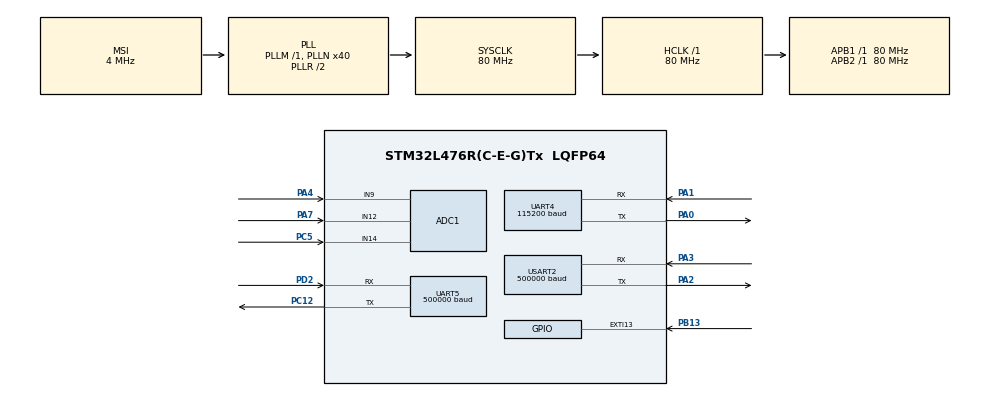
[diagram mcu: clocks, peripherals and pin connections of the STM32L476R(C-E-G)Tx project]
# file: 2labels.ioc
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ADC1.Channel-0\#ChannelRegularConversion=ADC_CHANNEL_9
ADC1.Channel-1\#ChannelRegularConversion=ADC_CHANNEL_12
ADC1.Channel-2\#ChannelRegularConversion=ADC_CHANNEL_14
ADC1.DMAContinuousRequests=ENABLE
ADC1.ExternalTrigConv=ADC_EXTERNALTRIG_T3_TRGO
ADC1.NbrOfConversion=3
ADC1.NbrOfConversionFlag=1
ADC1.OffsetNumber-0\#ChannelRegularConversion=ADC_OFFSET_NONE
ADC1.OffsetNumber-1\#ChannelRegularConversion=ADC_OFFSET_NONE
ADC1.OffsetNumber-2\#ChannelRegularConversion=ADC_OFFSET_NONE
ADC1.Rank-0\#ChannelRegularConversion=1
ADC1.Rank-1\#ChannelRegularConversion=2
ADC1.Rank-2\#ChannelRegularConversion=3
ADC1.SamplingTime-0\#ChannelRegularConversion=ADC_SAMPLETIME_2CYCLES_5
ADC1.SamplingTime-1\#ChannelRegularConversion=ADC_SAMPLETIME_2CYCLES_5
ADC1.SamplingTime-2\#ChannelRegularConversion=ADC_SAMPLETIME_2CYCLES_5
ADC1.master=1
Dma.ADC1.0.Direction=DMA_PERIPH_TO_MEMORY
Dma.ADC1.0.Instance=DMA1_Channel1
Dma.ADC1.0.MemDataAlignment=DMA_MDATAALIGN_WORD
Dma.ADC1.0.MemInc=DMA_MINC_ENABLE
Dma.ADC1.0.Mode=DMA_CIRCULAR
Dma.ADC1.0.PeriphDataAlignment=DMA_PDATAALIGN_WORD
Dma.ADC1.0.PeriphInc=DMA_PINC_DISABLE
Dma.ADC1.0.Priority=DMA_PRIORITY_VERY_HIGH
Dma.Request0=ADC1
Dma.Request1=USART2_TX
Dma.Request2=UART4_TX
Dma.Request3=UART5_RX
Dma.Request4=UART5_TX
Dma.UART4_TX.2.Direction=DMA_MEMORY_TO_PERIPH
Dma.UART4_TX.2.Instance=DMA2_Channel3
Dma.UART4_TX.2.MemDataAlignment=DMA_MDATAALIGN_BYTE
Dma.UART4_TX.2.MemInc=DMA_MINC_ENABLE
Dma.UART4_TX.2.Mode=DMA_NORMAL
Dma.UART4_TX.2.PeriphDataAlignment=DMA_PDATAALIGN_BYTE
Dma.UART4_TX.2.PeriphInc=DMA_PINC_DISABLE
Dma.UART4_TX.2.Priority=DMA_PRIORITY_LOW
Dma.UART5_RX.3.Direction=DMA_PERIPH_TO_MEMORY
Dma.UART5_RX.3.Instance=DMA2_Channel2
Dma.UART5_RX.3.MemDataAlignment=DMA_MDATAALIGN_BYTE
Dma.UART5_RX.3.MemInc=DMA_MINC_ENABLE
Dma.UART5_RX.3.Mode=DMA_CIRCULAR
Dma.UART5_RX.3.PeriphDataAlignment=DMA_PDATAALIGN_BYTE
Dma.UART5_RX.3.PeriphInc=DMA_PINC_DISABLE
Dma.UART5_RX.3.Priority=DMA_PRIORITY_LOW
Dma.UART5_TX.4.Direction=DMA_MEMORY_TO_PERIPH
Dma.UART5_TX.4.Instance=DMA2_Channel1
Dma.UART5_TX.4.MemDataAlignment=DMA_MDATAALIGN_BYTE
Dma.UART5_TX.4.MemInc=DMA_MINC_ENABLE
Dma.UART5_TX.4.Mode=DMA_NORMAL
Dma.UART5_TX.4.PeriphDataAlignment=DMA_PDATAALIGN_BYTE
Dma.UART5_TX.4.PeriphInc=DMA_PINC_DISABLE
Dma.UART5_TX.4.Priority=DMA_PRIORITY_LOW
Dma.USART2_TX.1.Direction=DMA_MEMORY_TO_PERIPH
Dma.USART2_TX.1.Instance=DMA1_Channel7
Dma.USART2_TX.1.MemDataAlignment=DMA_MDATAALIGN_BYTE
Dma.USART2_TX.1.MemInc=DMA_MINC_ENABLE
Dma.USART2_TX.1.Mode=DMA_NORMAL
Dma.USART2_TX.1.PeriphDataAlignment=DMA_PDATAALIGN_BYTE
Dma.USART2_TX.1.PeriphInc=DMA_PINC_DISABLE
Dma.USART2_TX.1.Priority=DMA_PRIORITY_LOW
Mcu.Family=STM32L4
Mcu.Name=STM32L476R(C-E-G)Tx
Mcu.Package=LQFP64
NVIC.DMA1_Channel1_IRQn=true\:0\:0\:false\:false\:true\:false\:true\:true
NVIC.DMA1_Channel7_IRQn=true\:0\:0\:false\:false\:true\:false\:true\:true
NVIC.DMA2_Channel1_IRQn=true\:0\:0\:false\:false\:true\:false\:true\:true
NVIC.DMA2_Channel2_IRQn=true\:0\:0\:false\:false\:true\:false\:true\:true
NVIC.DMA2_Channel3_IRQn=true\:0\:0\:false\:false\:true\:false\:true\:true
NVIC.EXTI15_10_IRQn=true\:14\:0\:true\:false\:true\:true\:true\:true
NVIC.PriorityGroup=NVIC_PRIORITYGROUP_4
NVIC.UART4_IRQn=true\:0\:0\:false\:false\:true\:true\:true\:true
NVIC.UART5_IRQn=true\:0\:0\:true\:false\:true\:true\:true\:true
NVIC.USART2_IRQn=true\:0\:0\:false\:false\:true\:true\:true\:true
PA0.Mode=Asynchronous
PA0.Signal=UART4_TX
PA1.Mode=Asynchronous
PA1.Signal=UART4_RX
PA2.Mode=Asynchronous
PA2.Signal=USART2_TX
PA3.Mode=Asynchronous
PA3.Signal=USART2_RX
PA4.Signal=ADCx_IN9
PA7.Signal=ADCx_IN12
PB13.Signal=GPXTI13
PC12.Mode=Asynchronous
PC12.Signal=UART5_TX
PC5.Signal=ADCx_IN14
PD2.Mode=Asynchronous
PD2.Signal=UART5_RX
ProjectManager.HeapSize=0x200
ProjectManager.StackSize=0x400
ProjectManager.TargetToolchain=STM32CubeIDE
RCC.ADCFreq_Value=32000000
RCC.AHBFreq_Value=80000000
RCC.APB1Freq_Value=80000000
RCC.APB1TimFreq_Value=80000000
RCC.APB2Freq_Value=80000000
RCC.APB2TimFreq_Value=80000000
RCC.CortexFreq_Value=80000000
RCC.HCLKFreq_Value=80000000
RCC.HSE_VALUE=8000000
RCC.HSI_VALUE=16000000
RCC.LSE_VALUE=32768
RCC.MSI_VALUE=4000000
RCC.PLLN=40
RCC.PLLSAI1N=16
RCC.SYSCLKFreq_VALUE=80000000
RCC.SYSCLKSource=RCC_SYSCLKSOURCE_PLLCLK
RCC.USBFreq_Value=32000000
RCC.VCOOutputFreq_Value=160000000
SH.ADCx_IN12.0=ADC1_IN12,IN12-Single-Ended
SH.ADCx_IN14.0=ADC1_IN14,IN14-Single-Ended
SH.ADCx_IN9.0=ADC1_IN9,IN9-Single-Ended
TIM3.Period=999
TIM3.Prescaler=79
TIM3.TIM_MasterOutputTrigger=TIM_TRGO_UPDATE
UART4.BaudRate=115200
UART5.BaudRate=500000
USART2.BaudRate=500000
USART2.VirtualMode-Asynchronous=VM_ASYNC
VP_TIM3_VS_ClockSourceINT.Mode=Internal
board=custom

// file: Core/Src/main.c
/* USER CODE BEGIN Header */
/**
  ******************************************************************************
  * @file           : main.c
  * @brief          : Main program body
  ******************************************************************************
  * @attention
  *
  * Copyright (c) 2025 STMicroelectronics.
  * All rights reserved.
  *
  * This software is licensed under terms that can be found in the LICENSE file
  * in the root directory of this software component.
  * If no LICENSE file comes with this software, it is provided AS-IS.
  *
  ******************************************************************************
  */
/* USER CODE END Header */
#include "main.h"

/* USER CODE BEGIN Includes */
#include <stdio.h>
#include <stdlib.h>
#include <string.h>
#include <errno.h>
#include <fcntl.h>
#include <time.h>
#include <assert.h>
#include <math.h>
#include "function.h"
#define ADC_SCALE (3.0f / 4095.0f)  // ≈ 0.0007326
#define MIDPOINT  0.0f

/* USER CODE END Includes */

ADC_HandleTypeDef hadc1;
DMA_HandleTypeDef hdma_adc1;

TIM_HandleTypeDef htim3;

UART_HandleTypeDef huart4;
UART_HandleTypeDef huart5;
UART_HandleTypeDef huart2;
DMA_HandleTypeDef hdma_uart4_tx;
DMA_HandleTypeDef hdma_uart5_rx;
DMA_HandleTypeDef hdma_uart5_tx;
DMA_HandleTypeDef hdma_usart2_tx;

void SystemClock_Config(void);
static void MX_GPIO_Init(void);
static void MX_DMA_Init(void);
static void MX_ADC1_Init(void);
static void MX_TIM3_Init(void);
static void MX_USART2_UART_Init(void);
static void MX_UART4_Init(void);
static void MX_UART5_Init(void);

/* USER CODE BEGIN 0 */
static uint32_t ADC_VAL1[300];

// Global receive buffers
uint8_t UART2_rxBuffer;
uint8_t UART4_rxBuffer;
uint8_t UART5_rxBuffer[1];

volatile uint8_t uart_flag = 0;
volatile uint8_t uart_flag2 = 0;
volatile uint8_t uart_flag3 = 0;

int flag = 0;
static int indext1 = 0;
static float TestData1[300];
static float Wg1[FEATURE_DIM * CLASS];
static float Cg1[CLASS];
static float xmean1[FEATURE_DIM];
static float xstd1[FEATURE_DIM];
volatile uint8_t uart2_tx_busy = 0;
volatile uint8_t uart4_tx_busy = 0;

int count1 =0;
int count2 =0;
int count3 =0;
int temp =0;
int countwindow = 0;
volatile uint8_t temporyP = '?';

#define TESTDATA_SIZE 1000
uint32_t indext = 0;
float TestData3[TESTDATA_SIZE];
#define BUFFER_SIZE 5  // Number of recent predictions to keep
int decision_buffer[BUFFER_SIZE] = {0};  // Circular buffer
int buffer_index = 0;                    // Next position to write
int buffer_count = 0;                    // Number of valid entries
char TxData[2048];

void RunLDATest()
{
    int test_decision1 = LDA_test(TestData1, Wg1, Cg1, xmean1, xstd1);

    if (temp != test_decision1)
    {
        // Reset all counts on new decision
        count1 = 0;
        count2 = 0;
        count3 = 0;
        temp = test_decision1;
    }
    else
    {
        switch (test_decision1)
        {
            case 1:
                count1++;
                if (count1 > 5)
                {

                    	char message[32];
                    	sprintf(message, "%d", test_decision1);
                    	HAL_UART_Transmit_DMA(&huart4, (uint8_t *)message, strlen(message));
                        HAL_UART_Transmit_DMA(&huart2, (uint8_t *)message, strlen(message));
                        HAL_UART_Transmit_DMA(&huart5, (uint8_t *)message, strlen(message));
                    count1 = 0;
                }
                break;

            case 2:
                count2++;
                if (count2 > 2)
                {

                    	char message[32];
                    	sprintf(message, "%d", test_decision1);
                    	HAL_UART_Transmit_DMA(&huart4, (uint8_t *)message, strlen(message));
                        HAL_UART_Transmit_DMA(&huart2, (uint8_t *)message, strlen(message));
                        HAL_UART_Transmit_DMA(&huart5, (uint8_t *)message, strlen(message));

                    count2 = 0;
                }
                break;

            case 3:
                count3++;
                if (count3 > 2)
                {

                    	char message[32];
                    	sprintf(message, "%d", test_decision1);
                    	HAL_UART_Transmit_DMA(&huart4, (uint8_t *)message, strlen(message));
                        HAL_UART_Transmit_DMA(&huart2, (uint8_t *)message, strlen(message));
                        HAL_UART_Transmit_DMA(&huart5, (uint8_t *)message, strlen(message));

                    count3 = 0;
                }
                break;

            default:
                // Handle unexpected decision (e.g., out-of-range class)
                break;
        }
    }
}

/*

void RunLDATest()
{

    int test_decision1 = LDA_test(TestData1, Wg1, Cg1, xmean1, xstd1);

    // Store the prediction
    decision_buffer[buffer_index] = test_decision1;

    // Advance the circular buffer index
    buffer_index = (buffer_index + 1) % BUFFER_SIZE;

    // Keep track of how many entries have been added (max = BUFFER_SIZE)
    if (buffer_count < BUFFER_SIZE)
        buffer_count++;

    // Only run majority vote if buffer is full
    if (buffer_count == BUFFER_SIZE)
    {
        int stable_decision = majority_vote(decision_buffer, BUFFER_SIZE);

        // Send result over UART
        char message[32];
        sprintf(message, "$EMG,%d\r\n", stable_decision);

        // Start non-blocking DMA transmission
        HAL_UART_Transmit_DMA(&huart4, (uint8_t *)message, strlen(message));
        HAL_UART_Transmit_DMA(&huart2, (uint8_t *)message, strlen(message));

        buffer_count = 0;
        buffer_index = 0;
    }
}

*/

/* USER CODE END 0 */

int main(void)
{

  /* USER CODE BEGIN 1 */
	// Auto-generated LDA model parameters

	// Auto-generated LDA model parameters

	float Wg_init[24] = {
	    -0.781279, 0.781282,
	    -0.179909, 0.179852,
	    -0.000000, -0.000000,
	    0.000000, 0.000000,
	    0.468908, 0.468908,
	    0.230957, 0.230957,
	    0.164355, 0.164355,
	    0.247018, 0.247018,
	    0.027606, 0.027606,
	    0.079867, 0.079867,
	    0.000000, 0.000000,
	    0.258418, 0.258418,
	};

	float Cg_init[2] = {
	    -0.412458, -0.144572
	};

	float xstd_init[12] = {
	    0.000316, 0.000015, 1.000000, 0.012427, 0.002320, 0.000796, 0.076431, 0.133261, 0.002066, 0.000541, 0.072712, 0.195106
	};

	float xmean_init[12] = {
	    0.002584, -0.007913, 0.000000, 0.004286, 0.008301, -0.006610, 0.145714, 0.460000, 0.006334, -0.007069, 0.091190, 0.348572
	};

  /* USER CODE END 1 */

  /* MCU Configuration--------------------------------------------------------*/

  /* Reset of all peripherals, Initializes the Flash interface and the Systick. */
  HAL_Init();

  /* USER CODE BEGIN Init */

  for (int i = 0; i < FEATURE_DIM * CLASS; i++)
  {
            Wg1[i] = Wg_init[i];
        }
        for (int i = 0; i < CLASS; i++) {
            Cg1[i] = Cg_init[i];
        }
        for (int i = 0; i < FEATURE_DIM; i++)
        {
            xmean1[i] = xmean_init[i];
            xstd1[i] = xstd_init[i];
        }

  /* USER CODE END Init */

  /* Configure the system clock */
  SystemClock_Config();

  /* Initialize all configured peripherals */
  MX_GPIO_Init();
  MX_DMA_Init();
  MX_ADC1_Init();
  MX_TIM3_Init();
  MX_USART2_UART_Init();
  MX_UART4_Init();
  MX_UART5_Init();
  /* USER CODE BEGIN 2 */

  if (HAL_ADCEx_Calibration_Start(&hadc1, ADC_SINGLE_ENDED) != HAL_OK)
   {
       Error_Handler();
   }
  HAL_UART_Receive_DMA (&huart5, UART5_rxBuffer, 1);
  HAL_UART_Receive_IT (&huart2, &UART2_rxBuffer, 1);
  //HAL_TIM_Base_Start(&htim3);
  //HAL_ADC_Start_DMA(&hadc1,ADC_VAL, 3);

  /* USER CODE END 2 */

  /* Infinite loop */
  while (1)
  {

  }
}

void SystemClock_Config(void)
{
  RCC_OscInitTypeDef RCC_OscInitStruct = {0};
  RCC_ClkInitTypeDef RCC_ClkInitStruct = {0};

  /** Configure the main internal regulator output voltage
  */
  if (HAL_PWREx_ControlVoltageScaling(PWR_REGULATOR_VOLTAGE_SCALE1) != HAL_OK)
  {
    Error_Handler();
  }

  /** Initializes the RCC Oscillators according to the specified parameters
  * in the RCC_OscInitTypeDef structure.
  */
  RCC_OscInitStruct.OscillatorType = RCC_OSCILLATORTYPE_MSI;
  RCC_OscInitStruct.MSIState = RCC_MSI_ON;
  RCC_OscInitStruct.MSICalibrationValue = 0;
  RCC_OscInitStruct.MSIClockRange = RCC_MSIRANGE_6;
  RCC_OscInitStruct.PLL.PLLState = RCC_PLL_ON;
  RCC_OscInitStruct.PLL.PLLSource = RCC_PLLSOURCE_MSI;
  RCC_OscInitStruct.PLL.PLLM = 1;
  RCC_OscInitStruct.PLL.PLLN = 40;
  RCC_OscInitStruct.PLL.PLLP = RCC_PLLP_DIV7;
  RCC_OscInitStruct.PLL.PLLQ = RCC_PLLQ_DIV2;
  RCC_OscInitStruct.PLL.PLLR = RCC_PLLR_DIV2;
  if (HAL_RCC_OscConfig(&RCC_OscInitStruct) != HAL_OK)
  {
    Error_Handler();
  }

  /** Initializes the CPU, AHB and APB buses clocks
  */
  RCC_ClkInitStruct.ClockType = RCC_CLOCKTYPE_HCLK|RCC_CLOCKTYPE_SYSCLK
                              |RCC_CLOCKTYPE_PCLK1|RCC_CLOCKTYPE_PCLK2;
  RCC_ClkInitStruct.SYSCLKSource = RCC_SYSCLKSOURCE_PLLCLK;
  RCC_ClkInitStruct.AHBCLKDivider = RCC_SYSCLK_DIV1;
  RCC_ClkInitStruct.APB1CLKDivider = RCC_HCLK_DIV1;
  RCC_ClkInitStruct.APB2CLKDivider = RCC_HCLK_DIV1;

  if (HAL_RCC_ClockConfig(&RCC_ClkInitStruct, FLASH_LATENCY_4) != HAL_OK)
  {
    Error_Handler();
  }
}

static void MX_ADC1_Init(void)
{

  ADC_MultiModeTypeDef multimode = {0};
  ADC_ChannelConfTypeDef sConfig = {0};

  /** Common config
  */
  hadc1.Instance = ADC1;
  hadc1.Init.ClockPrescaler = ADC_CLOCK_ASYNC_DIV1;
  hadc1.Init.Resolution = ADC_RESOLUTION_12B;
  hadc1.Init.DataAlign = ADC_DATAALIGN_RIGHT;
  hadc1.Init.ScanConvMode = ADC_SCAN_ENABLE;
  hadc1.Init.EOCSelection = ADC_EOC_SINGLE_CONV;
  hadc1.Init.LowPowerAutoWait = DISABLE;
  hadc1.Init.ContinuousConvMode = DISABLE;
  hadc1.Init.NbrOfConversion = 3;
  hadc1.Init.DiscontinuousConvMode = DISABLE;
  hadc1.Init.ExternalTrigConv = ADC_EXTERNALTRIG_T3_TRGO;
  hadc1.Init.ExternalTrigConvEdge = ADC_EXTERNALTRIGCONVEDGE_RISING;
  hadc1.Init.DMAContinuousRequests = ENABLE;
  hadc1.Init.Overrun = ADC_OVR_DATA_PRESERVED;
  hadc1.Init.OversamplingMode = DISABLE;
  if (HAL_ADC_Init(&hadc1) != HAL_OK)
  {
    Error_Handler();
  }

  /** Configure the ADC multi-mode
  */
  multimode.Mode = ADC_MODE_INDEPENDENT;
  if (HAL_ADCEx_MultiModeConfigChannel(&hadc1, &multimode) != HAL_OK)
  {
    Error_Handler();
  }

  /** Configure Regular Channel
  */
  sConfig.Channel = ADC_CHANNEL_9;
  sConfig.Rank = ADC_REGULAR_RANK_1;
  sConfig.SamplingTime = ADC_SAMPLETIME_2CYCLES_5;
  sConfig.SingleDiff = ADC_SINGLE_ENDED;
  sConfig.OffsetNumber = ADC_OFFSET_NONE;
  sConfig.Offset = 0;
  if (HAL_ADC_ConfigChannel(&hadc1, &sConfig) != HAL_OK)
  {
    Error_Handler();
  }

  /** Configure Regular Channel
  */
  sConfig.Channel = ADC_CHANNEL_12;
  sConfig.Rank = ADC_REGULAR_RANK_2;
  if (HAL_ADC_ConfigChannel(&hadc1, &sConfig) != HAL_OK)
  {
    Error_Handler();
  }

  /** Configure Regular Channel
  */
  sConfig.Channel = ADC_CHANNEL_14;
  sConfig.Rank = ADC_REGULAR_RANK_3;
  if (HAL_ADC_ConfigChannel(&hadc1, &sConfig) != HAL_OK)
  {
    Error_Handler();
  }

}

static void MX_TIM3_Init(void)
{

  TIM_ClockConfigTypeDef sClockSourceConfig = {0};
  TIM_MasterConfigTypeDef sMasterConfig = {0};

  htim3.Instance = TIM3;
  htim3.Init.Prescaler = 79;
  htim3.Init.CounterMode = TIM_COUNTERMODE_UP;
  htim3.Init.Period = 999;
  htim3.Init.ClockDivision = TIM_CLOCKDIVISION_DIV1;
  htim3.Init.AutoReloadPreload = TIM_AUTORELOAD_PRELOAD_DISABLE;
  if (HAL_TIM_Base_Init(&htim3) != HAL_OK)
  {
    Error_Handler();
  }
  sClockSourceConfig.ClockSource = TIM_CLOCKSOURCE_INTERNAL;
  if (HAL_TIM_ConfigClockSource(&htim3, &sClockSourceConfig) != HAL_OK)
  {
    Error_Handler();
  }
  sMasterConfig.MasterOutputTrigger = TIM_TRGO_UPDATE;
  sMasterConfig.MasterSlaveMode = TIM_MASTERSLAVEMODE_DISABLE;
  if (HAL_TIMEx_MasterConfigSynchronization(&htim3, &sMasterConfig) != HAL_OK)
  {
    Error_Handler();
  }

}

static void MX_UART4_Init(void)
{

  huart4.Instance = UART4;
  huart4.Init.BaudRate = 115200;
  huart4.Init.WordLength = UART_WORDLENGTH_8B;
  huart4.Init.StopBits = UART_STOPBITS_1;
  huart4.Init.Parity = UART_PARITY_NONE;
  huart4.Init.Mode = UART_MODE_TX_RX;
  huart4.Init.HwFlowCtl = UART_HWCONTROL_NONE;
  huart4.Init.OverSampling = UART_OVERSAMPLING_16;
  huart4.Init.OneBitSampling = UART_ONE_BIT_SAMPLE_DISABLE;
  huart4.AdvancedInit.AdvFeatureInit = UART_ADVFEATURE_NO_INIT;
  if (HAL_UART_Init(&huart4) != HAL_OK)
  {
    Error_Handler();
  }

}

static void MX_UART5_Init(void)
{

  huart5.Instance = UART5;
  huart5.Init.BaudRate = 500000;
  huart5.Init.WordLength = UART_WORDLENGTH_8B;
  huart5.Init.StopBits = UART_STOPBITS_1;
  huart5.Init.Parity = UART_PARITY_NONE;
  huart5.Init.Mode = UART_MODE_TX_RX;
  huart5.Init.HwFlowCtl = UART_HWCONTROL_NONE;
  huart5.Init.OverSampling = UART_OVERSAMPLING_16;
  huart5.Init.OneBitSampling = UART_ONE_BIT_SAMPLE_DISABLE;
  huart5.AdvancedInit.AdvFeatureInit = UART_ADVFEATURE_NO_INIT;
  if (HAL_UART_Init(&huart5) != HAL_OK)
  {
    Error_Handler();
  }

}

static void MX_USART2_UART_Init(void)
{

  huart2.Instance = USART2;
  huart2.Init.BaudRate = 500000;
  huart2.Init.WordLength = UART_WORDLENGTH_8B;
  huart2.Init.StopBits = UART_STOPBITS_1;
  huart2.Init.Parity = UART_PARITY_NONE;
  huart2.Init.Mode = UART_MODE_TX_RX;
  huart2.Init.HwFlowCtl = UART_HWCONTROL_NONE;
  huart2.Init.OverSampling = UART_OVERSAMPLING_16;
  huart2.Init.OneBitSampling = UART_ONE_BIT_SAMPLE_DISABLE;
  huart2.AdvancedInit.AdvFeatureInit = UART_ADVFEATURE_NO_INIT;
  if (HAL_UART_Init(&huart2) != HAL_OK)
  {
    Error_Handler();
  }

}

static void MX_DMA_Init(void)
{

  /* DMA controller clock enable */
  __HAL_RCC_DMA1_CLK_ENABLE();
  __HAL_RCC_DMA2_CLK_ENABLE();

  /* DMA interrupt init */
  /* DMA1_Channel1_IRQn interrupt configuration */
  HAL_NVIC_SetPriority(DMA1_Channel1_IRQn, 0, 0);
  HAL_NVIC_EnableIRQ(DMA1_Channel1_IRQn);
  /* DMA1_Channel7_IRQn interrupt configuration */
  HAL_NVIC_SetPriority(DMA1_Channel7_IRQn, 0, 0);
  HAL_NVIC_EnableIRQ(DMA1_Channel7_IRQn);
  /* DMA2_Channel1_IRQn interrupt configuration */
  HAL_NVIC_SetPriority(DMA2_Channel1_IRQn, 0, 0);
  HAL_NVIC_EnableIRQ(DMA2_Channel1_IRQn);
  /* DMA2_Channel2_IRQn interrupt configuration */
  HAL_NVIC_SetPriority(DMA2_Channel2_IRQn, 0, 0);
  HAL_NVIC_EnableIRQ(DMA2_Channel2_IRQn);
  /* DMA2_Channel3_IRQn interrupt configuration */
  HAL_NVIC_SetPriority(DMA2_Channel3_IRQn, 0, 0);
  HAL_NVIC_EnableIRQ(DMA2_Channel3_IRQn);

}

static void MX_GPIO_Init(void)
{
  GPIO_InitTypeDef GPIO_InitStruct = {0};

  /* GPIO Ports Clock Enable */
  __HAL_RCC_GPIOA_CLK_ENABLE();
  __HAL_RCC_GPIOC_CLK_ENABLE();
  __HAL_RCC_GPIOB_CLK_ENABLE();
  __HAL_RCC_GPIOD_CLK_ENABLE();

  /*Configure GPIO pin : PB13 */
  GPIO_InitStruct.Pin = GPIO_PIN_13;
  GPIO_InitStruct.Mode = GPIO_MODE_IT_RISING;
  GPIO_InitStruct.Pull = GPIO_NOPULL;
  HAL_GPIO_Init(GPIOB, &GPIO_InitStruct);

  /* EXTI interrupt init*/
  HAL_NVIC_SetPriority(EXTI15_10_IRQn, 14, 0);
  HAL_NVIC_EnableIRQ(EXTI15_10_IRQn);

}

/* USER CODE BEGIN 4 */

void HAL_GPIO_EXTI_Callback(uint16_t GPIO_Pin)
{
  if((GPIO_Pin == GPIO_PIN_13)&&(flag==0))
  {

	  HAL_TIM_Base_Start(&htim3);
	  HAL_ADC_Start_DMA(&hadc1, ADC_VAL1, 300);
	  uart_flag = 0;
	  uart_flag2 = 1;
	  flag = 1;
  }

}

void HAL_UART_RxCpltCallback(UART_HandleTypeDef *huart)
{
    /* ===== USART2: commands from PC (z, x, c, etc.) ===== */
    if (huart->Instance == USART2)
    {
        HAL_UART_Transmit(&huart2, (uint8_t *)"UART2 received: ", 16, 100);
        HAL_UART_Transmit(&huart2, &UART2_rxBuffer, 1, 100);
        HAL_UART_Transmit(&huart2, (uint8_t *)"\r\n", 2, 100);

        if (UART2_rxBuffer == 'z') {
            HAL_TIM_Base_Start(&htim3);
            HAL_ADC_Start_DMA(&hadc1, ADC_VAL1, 300);
            indext1    = 0;
            uart_flag  = 1;
            uart_flag2 = 0;
            uart_flag3 = 0;
            countwindow = 0;
        }
        else if (UART2_rxBuffer == 'x') {
            HAL_TIM_Base_Start(&htim3);
            HAL_ADC_Start_DMA(&hadc1, ADC_VAL1, 300);
            indext1    = 0;
            uart_flag  = 0;
            uart_flag2 = 1;
            uart_flag3 = 0;
            countwindow = 0;
        }
        else if (UART2_rxBuffer == 'c') {
            HAL_TIM_Base_Start(&htim3);
            HAL_ADC_Start_DMA(&hadc1, ADC_VAL1, 300);
            indext1    = 0;
            uart_flag  = 0;
            uart_flag2 = 0;
            uart_flag3 = 1;
            countwindow = 0;

            // Start UART5 DMA RX (first time)
            HAL_UART_Receive_DMA(&huart5, UART5_rxBuffer, 1);
        }
        else {
            HAL_TIM_Base_Stop(&htim3);
            HAL_ADC_Stop_DMA(&hadc1);
            indext1    = 0;
            uart_flag  = 0;
            uart_flag2 = 0;
            uart_flag3 = 0;
            countwindow = 0;
        }

        // Re-arm RX on USART2
        HAL_UART_Receive_IT(&huart2, &UART2_rxBuffer, 1);
    }

    /* ===== UART5: predictions coming from the other board ===== */
    else if (huart->Instance == UART5)
    {
        // Now it's safe: DMA finished for UART5, new byte is valid
    	uint8_t c = UART5_rxBuffer[0];
        if (c >= '0' && c <= '9')   // or (c == '1' || c == '2' || c == '3')
          {
              temporyP = c;
          }

        // (Optional) debug to PC:
        // char dbg[32];
        // int len = sprintf(dbg, "Got P%c\r\n", (char)temporyP);
        // HAL_UART_Transmit(&huart2, (uint8_t*)dbg, len, 100);

        // Re-arm RX DMA so we can get the next prediction
        HAL_UART_Receive_DMA(&huart5, UART5_rxBuffer, 1);
    }
}

void HAL_ADC_ConvHalfCpltCallback(ADC_HandleTypeDef *hadc)
{

    if (uart_flag == 1)
    {

    	for (int i = 0; i < 150; i++)
    	    {
    	        TestData3[i] = ADC_VAL1[i];
    	    }

    	    // --- 2. Format into comma-separated string triplets
    	    char *ptr = TxData;
    	    for (int i = 0; i < 150; i += 3)
    	    {
    	        if (i + 2 < 150)
    	        {
    	            int len = sprintf(ptr, "%d,%d,%d\r\n",
    	                              (int)TestData3[i],
    	                              (int)TestData3[i + 1],
    	                              (int)TestData3[i + 2]);

    	            ptr += len;
    	        }
    	    }

    	    // --- 3. Transmit formatted data over UART using DMA
    	    uint32_t data_len = ptr - TxData;

    	    HAL_UART_Transmit_DMA(&huart2, (uint8_t *)TxData, data_len);

    }

    if (uart_flag3 == 1)
    {
    	countwindow++;

    	for (int i = 0; i < 150; i++)
    	    {
    	        TestData3[i] = ADC_VAL1[i];
    	    }

    	    // --- 2. Format into comma-separated string triplets
    	    char *ptr = TxData;
    	    for (int i = 0; i < 150; i += 3)
    	    {
    	        if (i + 2 < 150)
    	        {
    	        	int len = sprintf(ptr,
    	        	                  "%d,%d,%d,%c,%d\r\n",
    	        	                  (int)TestData3[i],
    	        	                  (int)TestData3[i + 1],
    	        	                  (int)TestData3[i + 2],
    	        	                  (char)temporyP,
    	        	                  (int)countwindow);

    	            ptr += len;
    	        }
    	    }

    	    // --- 3. Transmit formatted data over UART using DMA
    	    uint32_t data_len = ptr - TxData;
    	    HAL_UART_Transmit_DMA(&huart2, (uint8_t *)TxData, data_len);
    	    HAL_UART_Receive_DMA(&huart5, UART5_rxBuffer, 1);

    }

    if (uart_flag2 == 1)
        {

        // Store ADC values from first half of DMA buffer
        if (indext1 < 300)
        {
            for (int i = 0; i < 150; i++) {
                TestData1[indext1 + i] = ((float)ADC_VAL1[i] * ADC_SCALE) - MIDPOINT;

            }
            indext1 += 150;
        }
        else
        {
            // Shift old values
            for (int i = 0; i < 150; i++) {
                TestData1[i] = TestData1[i + 150];
            }

            // Add new samples to end
            for (int i = 0; i < 150; i++) {
                TestData1[150 + i] = ((float)ADC_VAL1[i] * ADC_SCALE) - MIDPOINT;
            }

            RunLDATest();  // Run your classifier here
        }
        }
}

void HAL_ADC_ConvCpltCallback(ADC_HandleTypeDef *hadc)
{

		  if (uart_flag == 1)
		      {

		      	for (int i = 0; i < 150; i++)
		      	    {
		      	        TestData3[i] = ADC_VAL1[i+150];
		      	    }

		      	    // --- 2. Format into comma-separated string triplets
		      	    char *ptr = TxData;
		      	    for (int i = 0; i < 150; i += 3)
		      	    {
		      	        if (i + 2 < 150)
		      	        {
		      	            int len = sprintf(ptr, "%d,%d,%d\r\n",
		      	                              (int)TestData3[i],
		      	                              (int)TestData3[i + 1],
		      	                              (int)TestData3[i + 2]);

		      	            ptr += len;
		      	        }
		      	    }

		      	    // --- 3. Transmit formatted data over UART using DMA
		      	    uint32_t data_len = ptr - TxData;
		      	    HAL_UART_Transmit_DMA(&huart2, (uint8_t *)TxData, data_len);

	    }

		  if (uart_flag3 == 1)
		 		      {
			  countwindow++;

		 		      	for (int i = 0; i < 150; i++)
		 		      	    {
		 		      	        TestData3[i] = ADC_VAL1[i+150];
		 		      	    }

		 		      	    // --- 2. Format into comma-separated string triplets
		 		      	    char *ptr = TxData;
		 		      	    for (int i = 0; i < 150; i += 3)
		 		      	    {
		 		      	        if (i + 2 < 150)

		 		      	        {
		 		      	        	int len = sprintf(ptr, "%d,%d,%d,%c,%d\r\n",
									(int)TestData3[i],
									(int)TestData3[i + 1],
									(int)TestData3[i + 2],
									(char)temporyP,
									(int)countwindow);
		 		      	            ptr += len;
		 		      	        }
		 		      	    }

		 		      	    // --- 3. Transmit formatted data over UART using DMA
		 		      	    uint32_t data_len = ptr - TxData;
		 		      	    HAL_UART_Transmit_DMA(&huart2, (uint8_t *)TxData, data_len);
		 		      	    HAL_UART_Receive_DMA(&huart5, UART5_rxBuffer, 1);
		 	    }

	  if (uart_flag2 == 1)
	  	    {

	    	 if (indext1 <300)
	    	    {
	    	        for (int i = 0; i < 150; i++)
	    	        {
	    	            TestData1[indext1 + i] = ((float)ADC_VAL1[i + 150] * ADC_SCALE) - MIDPOINT; // Fix: Correct indexing
	    	        }

	    	        indext1 += 150;
	    	    }
	    	    else
	    	    {
	    	        // Shift left (remove oldest values)
	    	        for (int i = 0; i < 150; i++)  // Fix: Stop at index 21 to prevent out-of-bounds
	    	        {
	    	            TestData1[i] = TestData1[i + 150];
	    	        }

	    	        // Add new values to the end
	    	        for (int i = 0; i < 150; i++)
	    	        {
	    	            TestData1[150 + i] = ((float)ADC_VAL1[i + 150] * ADC_SCALE) - MIDPOINT;

	    	        }
	    	        RunLDATest();

	    	    }
	  	    }
}

/* USER CODE END 4 */

void Error_Handler(void)
{
  __disable_irq();
  while (1)
  {
  }
}
